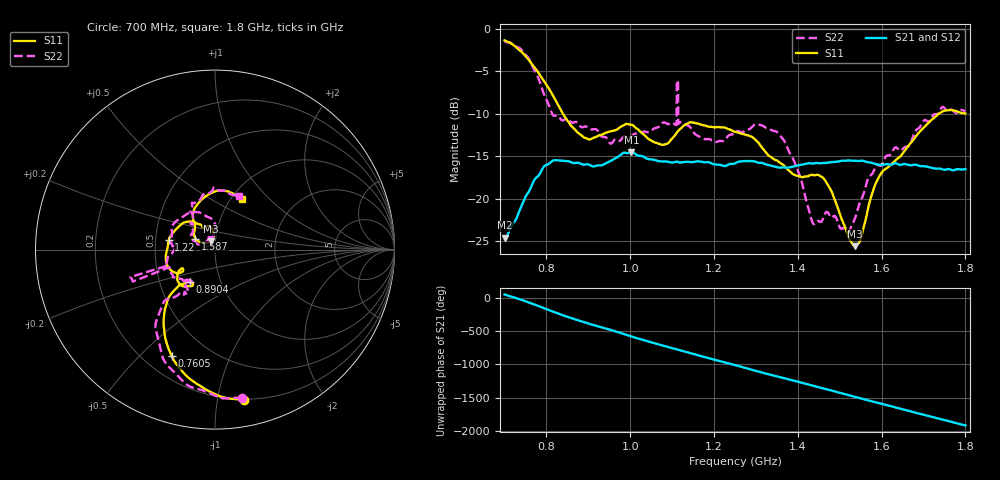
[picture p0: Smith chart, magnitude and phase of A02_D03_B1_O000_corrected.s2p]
! Created with skrf 1.9.0 (http://scikit-rf.org).
# Hz S RI R 50.0
!freq ReS11 ImS11 ReS21 ImS21 ReS12 ImS12 ReS22 ImS22
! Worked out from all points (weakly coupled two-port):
!   1601 points, 700 MHz to 1.8 GHz, reference 50 ohm
!   highest |S21| = -14.53 dB at 1.002 GHz (marker M1); lowest = -24.6 dB at 701.4 MHz (marker M2)
!   lowest |S11| = -25.6 dB at 1.535 GHz (marker M3), VSWR 1.11, Z = 47.5 + j4.49 ohm
!   |S11| at or under -10 dB: 839 MHz to 1.737 GHz (898 MHz wide, 69.7 % of centre)
!   |S22| runs from -23.9 to -1.5 dB; largest |S21 - S12| = 0.0035
!   S11 on the Smith chart (normalised r, x): 700 MHz: 0.20, -1.19; 760.5 MHz: 0.31, -0.63; 890.4 MHz: 0.71, -0.27; 1.22 GHz: 0.59, +0.07; 1.587 GHz: 0.80, +0.10; 1.8 GHz: 1.12, +0.70
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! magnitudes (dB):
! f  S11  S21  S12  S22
! 700 MHz  -1.4  -24.5  -24.3  -1.5
! 701.4 MHz  -1.4  -24.6  -24.2  -1.5
! 760.5 MHz  -3.9  -18.9  -18.8  -3.8
! 814.8 MHz  -7.8  -15.5  -15.6  -10.1
! 883.6 MHz  -12.6  -15.9  -15.8  -11.6
! 890.4 MHz  -12.8  -16.0  -16.0  -11.5
! 1.002 GHz  -11.3  -14.5  -14.6  -12.6
! 1.067 GHz  -13.5  -15.6  -15.5  -11.6
! 1.117 GHz  -11.9  -15.7  -15.7  -11.1
! 1.158 GHz  -11.1  -15.6  -15.6  -12.5
! 1.22 GHz  -11.6  -16.1  -16.1  -13.2
! 1.25 GHz  -12.1  -15.8  -15.8  -12.2
! 1.355 GHz  -15.7  -16.3  -16.3  -12.4
! 1.402 GHz  -17.3  -16.1  -16.1  -16.9
! 1.434 GHz  -17.2  -15.9  -15.8  -22.6
! 1.471 GHz  -18.4  -15.8  -15.8  -21.6
! 1.518 GHz  -24.1  -15.5  -15.5  -23.9
! 1.535 GHz  -25.6  -15.5  -15.5  -22.5
! 1.587 GHz  -18.1  -15.9  -15.9  -16.1
! 1.617 GHz  -16.2  -16.0  -15.9  -14.9
! 1.738 GHz  -10.0  -16.4  -16.5  -9.7
! 1.8 GHz  -10.0  -16.5  -16.5  -9.8
